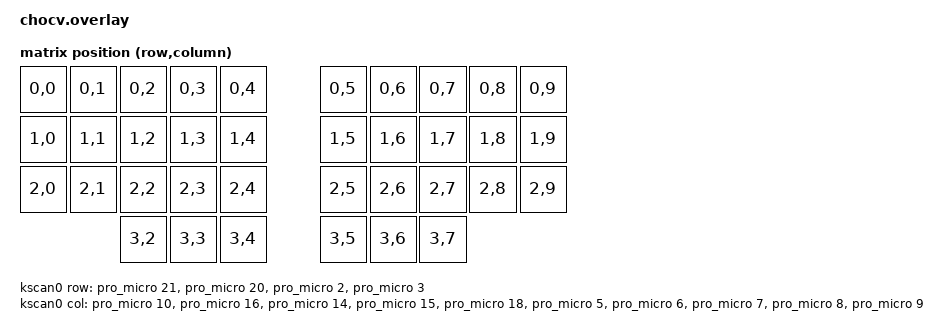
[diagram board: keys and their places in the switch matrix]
#include <dt-bindings/zmk/matrix_transform.h>


/ {
    /* Alias for the nice!nano blue LED (P0.15) */
    aliases {
        led0 = &blue_led;
    };

    chosen {
        zmk,kscan = &kscan0;
        zmk,matrix_transform = &default_transform;
    };

    default_transform: keymap_transform_0 {
        compatible = "zmk,matrix-transform";
        columns = <10>;
        rows = <4>;
        map = < 
RC(0,0) RC(0,1) RC(0,2) RC(0,3) RC(0,4) RC(0,5) RC(0,6) RC(0,7) RC(0,8) RC(0,9)
RC(1,0) RC(1,1) RC(1,2) RC(1,3) RC(1,4) RC(1,5) RC(1,6) RC(1,7) RC(1,8) RC(1,9)
RC(2,0) RC(2,1) RC(2,2) RC(2,3) RC(2,4) RC(2,5) RC(2,6) RC(2,7) RC(2,8) RC(2,9)
                RC(3,2) RC(3,3) RC(3,4) RC(3,5) RC(3,6) RC(3,7) 
        >;
    };

    kscan0: kscan_0 {
        compatible = "zmk,kscan-gpio-matrix";
        label = "KSCAN";
        diode-direction = "col2row";

        col-gpios
            = <&pro_micro 10 GPIO_ACTIVE_HIGH>
            , <&pro_micro 16 GPIO_ACTIVE_HIGH>
            , <&pro_micro 14 GPIO_ACTIVE_HIGH>
            , <&pro_micro 15 GPIO_ACTIVE_HIGH>
            , <&pro_micro 18 GPIO_ACTIVE_HIGH>
            , <&pro_micro 5 GPIO_ACTIVE_HIGH>
            , <&pro_micro 6 GPIO_ACTIVE_HIGH>
            , <&pro_micro 7 GPIO_ACTIVE_HIGH>
            , <&pro_micro 8 GPIO_ACTIVE_HIGH>
            , <&pro_micro 9 GPIO_ACTIVE_HIGH>
            ;

        row-gpios
            = <&pro_micro 21 (GPIO_ACTIVE_HIGH | GPIO_PULL_DOWN)>
            , <&pro_micro 20 (GPIO_ACTIVE_HIGH | GPIO_PULL_DOWN)>
            , <&pro_micro 2 (GPIO_ACTIVE_HIGH | GPIO_PULL_DOWN)>
            , <&pro_micro 3 (GPIO_ACTIVE_HIGH | GPIO_PULL_DOWN)>
            ;
    };
};
/*
 * Copyright (c) 2025 ZMK Contributors
 * SPDX-License-Identifier: MIT
 *
 * USB CDC ACM console configuration for chocv keyboard
 */

/ {
	chosen {
		zephyr,console = &cdc_acm_uart;
		zephyr,shell-uart = &cdc_acm_uart;
	};
};

&zephyr_udc0 {
	cdc_acm_uart: cdc_acm_uart {
		compatible = "zephyr,cdc-acm-uart";
	};
};

/*
 * MCUboot flash partition layout for nice_nano_v2
 *
 * Flash layout (1MB total):
 *   0x00000 - 0x0C000: MCUboot (48KB)
 *   0x0C000 - 0x0E000: MCUboot scratch (8KB)
 *   0x0E000 - 0xF0000: Primary slot / App (904KB)
 *   0xF0000 - 0xF8000: Coredump storage (32KB)
 *   0xF8000 - 0x100000: Settings/NVS (32KB)
 */
&flash0 {
	/delete-node/ partitions;

	partitions {
		compatible = "fixed-partitions";
		#address-cells = <1>;
		#size-cells = <1>;

		/* MCUboot bootloader - matches bootloader build */
		boot_partition: partition@0 {
			label = "mcuboot";
			reg = <0x00000000 0x0000c000>;
			read-only;
		};

		/* Scratch area for MCUboot swap operations */
		scratch_partition: partition@c000 {
			label = "image-scratch";
			reg = <0x0000c000 0x00002000>;
		};

		/* Primary application slot - this is where ZMK runs */
		slot0_partition: partition@e000 {
			label = "image-0";
			reg = <0x0000e000 0x000e2000>;
		};

		/* Coredump storage for Memfault (32KB) */
		coredump_partition: partition@f0000 {
			label = "coredump";
			reg = <0x000f0000 0x00008000>;
		};

		/* Settings/NVS storage (32KB) */
		storage_partition: partition@f8000 {
			label = "storage";
			reg = <0x000f8000 0x00008000>;
		};
	};
};

/* Tell Zephyr which partition to use for the application code */
/ {
	chosen {
		zephyr,code-partition = &slot0_partition;
	};
};

